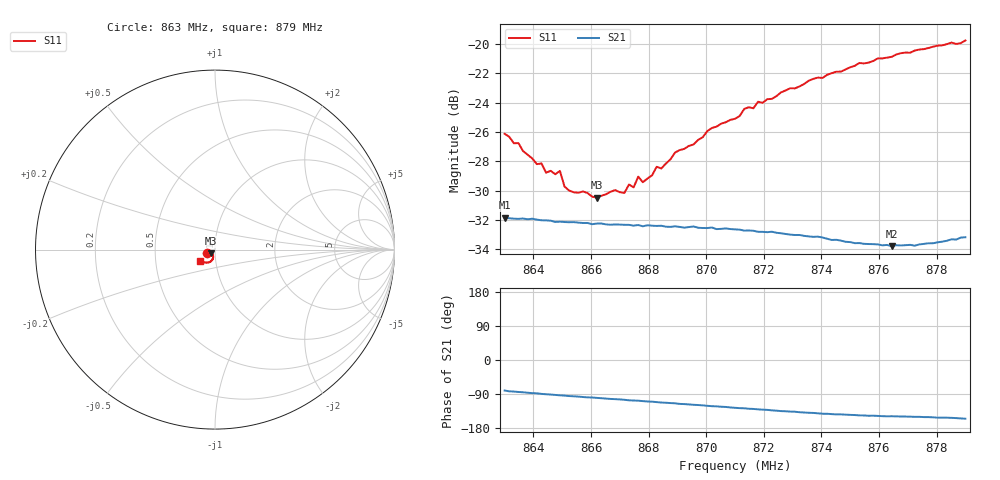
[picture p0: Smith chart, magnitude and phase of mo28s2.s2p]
# HZ S RI R 50
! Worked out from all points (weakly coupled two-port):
!   101 points, 863 MHz to 879 MHz, reference 50 ohm
!   highest |S21| = -31.84 dB at 863 MHz (marker M1); lowest = -33.8 dB at 876.44 MHz (marker M2)
!   lowest |S11| = -30.5 dB at 866.2 MHz (marker M3), VSWR 1.06, Z = 47.9 - j2.02 ohm
!   |S11| at or under -10 dB: start of sweep to end of sweep
!   S12 and S22 are empty: the file has one direction only
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8.63e8  -0.0463 -0.0172  0.00422 -0.0252  0 0  0 0
8.6412e8  -0.0353 -0.0163  0.000913 -0.0252  0 0  0 0
8.6428e8  -0.0348 -0.0181  0.000259 -0.0251  0 0  0 0
8.6444e8  -0.0326 -0.0163  -0.00016 -0.0251  0 0  0 0
8.6492e8  -0.0311 -0.0199  -0.00138 -0.0248  0 0  0 0
8.6508e8  -0.0272 -0.018  -0.0017 -0.0247  0 0  0 0
8.6524e8  -0.0265 -0.0174  -0.00222 -0.0246  0 0  0 0
8.6572e8  -0.0228 -0.0216  -0.00328 -0.0243  0 0  0 0
8.662e8  -0.0212 -0.0211  -0.00422 -0.0241  0 0  0 0
8.6716e8  -0.0144 -0.0275  -0.00627 -0.0234  0 0  0 0
8.6732e8  -0.0152 -0.0295  -0.00682 -0.0232  0 0  0 0
8.6748e8  -0.0122 -0.0301  -0.007 -0.023  0 0  0 0
8.6764e8  -0.0136 -0.0326  -0.00719 -0.0231  0 0  0 0
8.678e8  -0.0118 -0.0317  -0.00759 -0.0227  0 0  0 0
8.6828e8  -0.0116 -0.0363  -0.00865 -0.0224  0 0  0 0
8.6844e8  -0.0107 -0.0361  -0.00909 -0.0222  0 0  0 0
8.6892e8  -0.011 -0.0412  -0.00982 -0.0218  0 0  0 0
8.71e8  -0.0127 -0.0541  -0.0138 -0.0189  0 0  0 0
8.718e8  -0.0187 -0.0607  -0.0148 -0.0175  0 0  0 0
8.7372e8  -0.0299 -0.0698  -0.0168 -0.0143  0 0  0 0
8.7644e8  -0.0552 -0.0714  -0.0174 -0.0107  0 0  0 0
8.79e8  -0.082 -0.0618  -0.0199 -0.00933  0 0  0 0
